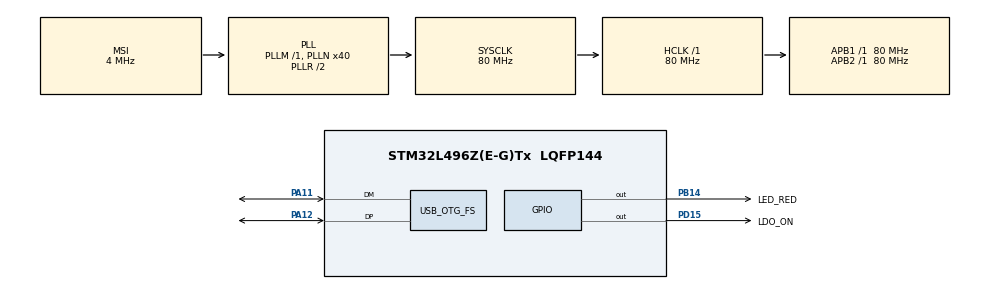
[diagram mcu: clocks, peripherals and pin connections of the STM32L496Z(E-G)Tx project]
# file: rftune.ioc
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Mcu.Family=STM32L4
Mcu.Name=STM32L496Z(E-G)Tx
Mcu.Package=LQFP144
NVIC.OTG_FS_IRQn=true\:0\:0\:false\:false\:true\:true\:true
NVIC.PriorityGroup=NVIC_PRIORITYGROUP_4
PA11.Mode=Device_Only
PA11.Signal=USB_OTG_FS_DM
PA12.Mode=Device_Only
PA12.Signal=USB_OTG_FS_DP
PB14.GPIO_Label=LED_RED
PB14.Signal=GPIO_Output
PD15.GPIO_Label=LDO_ON
PD15.PinState=GPIO_PIN_SET
PD15.Signal=GPIO_Output
PH0-OSC_IN\ (PH0).Mode=HSE-External-Oscillator
PH0-OSC_IN\ (PH0).Signal=RCC_OSC_IN
PH1-OSC_OUT\ (PH1).Mode=HSE-External-Oscillator
PH1-OSC_OUT\ (PH1).Signal=RCC_OSC_OUT
ProjectManager.HeapSize=0x200
ProjectManager.StackSize=0x400
ProjectManager.TargetToolchain=STM32CubeIDE
RCC.ADCFreq_Value=48000000
RCC.AHBFreq_Value=80000000
RCC.APB1Freq_Value=80000000
RCC.APB1TimFreq_Value=80000000
RCC.APB2Freq_Value=80000000
RCC.APB2TimFreq_Value=80000000
RCC.CortexFreq_Value=80000000
RCC.HCLKFreq_Value=80000000
RCC.HSE_VALUE=8000000
RCC.HSI48_VALUE=48000000
RCC.HSI_VALUE=16000000
RCC.MSI_VALUE=4000000
RCC.PLLN=40
RCC.PLLSAI1N=24
RCC.SYSCLKFreq_VALUE=80000000
RCC.SYSCLKSource=RCC_SYSCLKSOURCE_PLLCLK
RCC.USBFreq_Value=48000000
RCC.VCOOutputFreq_Value=160000000
TIM2.AutoReloadPreload=TIM_AUTORELOAD_PRELOAD_ENABLE
TIM2.Prescaler=80
USB_DEVICE.CLASS_NAME_FS=CDC
USB_DEVICE.VirtualMode=Cdc
USB_DEVICE.VirtualModeFS=Cdc_FS
USB_OTG_FS.VirtualMode=Device_Only
VP_TIM2_VS_ClockSourceINT.Mode=Internal
VP_USB_DEVICE_VS_USB_DEVICE_CDC_FS.Mode=CDC_FS
board=custom

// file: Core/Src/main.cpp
/* USER CODE BEGIN Header */
/**
  ******************************************************************************
  * @file           : main.c
  * @brief          : Main program body
  ******************************************************************************
  * @attention
  *
  * <h2><center>&copy; Copyright (c) 2020 STMicroelectronics.
  * All rights reserved.</center></h2>
  *
  * This software component is licensed by ST under BSD 3-Clause license,
  * the "License"; You may not use this file except in compliance with the
  * License. You may obtain a copy of the License at:
  *                        opensource.org/licenses/BSD-3-Clause
  *
  ******************************************************************************
  */
/* USER CODE END Header */
#include "main.h"
#include "usb_device.h"

/* USER CODE BEGIN Includes */
#include <stdlib.h>
#include "delay.h"
#include "usbd_cdc_if.h"
#include "rffc.h"

/* USER CODE END Includes */

TIM_HandleTypeDef htim2;

/* USER CODE BEGIN PV */

/************************************************************************************/
/*
 * Following function will be extern "C" void SystemClock_Config(void);
 */
/************************************************************************************/
/* USER CODE END PV */

extern "C" void SystemClock_Config(void);
static void MX_GPIO_Init(void);
static void MX_TIM2_Init(void);
/* USER CODE BEGIN PFP */
// Previous function will be extern "C" void SystemClock_Config(void);
static void MXEX_GPIO_INIT(void);
/* USER CODE END PFP */

/* USER CODE BEGIN 0 */

void usbPrint(const char *s)
{
	CDC_Transmit_FS((uint8_t *)s, strlen(s));
}

void usbPrint(uint8_t *s)
{
	CDC_Transmit_FS(s, strlen((char *)s));
}

/* USER CODE END 0 */

int main(void)
{
  /* USER CODE BEGIN 1 */
	//uint8_t cdc_buf[] = "Sample Text From CDC Buffer";
	char ch_buf1[100];
	int local_idx = 0;
  /* USER CODE END 1 */

  /* MCU Configuration--------------------------------------------------------*/

  /* Reset of all peripherals, Initializes the Flash interface and the Systick. */
  HAL_Init();

  /* Configure the system clock */
  SystemClock_Config();

  /* Initialize all configured peripherals */
  MX_GPIO_Init();
  MX_TIM2_Init();
  MX_USB_DEVICE_Init();
  /* USER CODE BEGIN 2 */

  MXEX_GPIO_INIT();
  HAL_TIM_Base_Start(&htim2);

  //RFFC(GPIO_TypeDef *port_sclk, uint16_t pin_sclk, GPIO_TypeDef *port_sdata, uint16_t pin_sdata, GPIO_TypeDef *port_resetx, uint16_t pin_resetx, GPIO_TypeDef *port_enx, uint16_t pin_enx);
  RFFC rffc(GPIOD, GPIO_PIN_1, GPIOD, GPIO_PIN_4, GPIOD, GPIO_PIN_2, GPIOD, GPIO_PIN_0);

  RFFC r2fc(GPIOB, GPIO_PIN_3, GPIOB, GPIO_PIN_5, GPIOG, GPIO_PIN_14, GPIOG, GPIO_PIN_15);
  //HAL_GPIO_WritePin(GPIOB, GPIO_PIN_7, GPIO_PIN_SET);

  uint16_t SDI_CTRL = 0;

  rffc.resetLow();
  usbPrint("Reseting RFFC. Wait 10 Second");
  HAL_Delay(10000);
  rffc.resetHigh();

  SDI_CTRL = rffc.read(0x15);
  sprintf(ch_buf1,"REG(15) : %03d\r\n", SDI_CTRL);
  for(local_idx=0;local_idx<16;local_idx++)
  {
	  SDI_CTRL = rffc.read(local_idx);
	  sprintf(ch_buf1,"REG(0X%04X) : 0X%04X\r\n", local_idx,  SDI_CTRL);
	  CDC_Transmit_FS((uint8_t *)ch_buf1, strlen(ch_buf1));
  }
  /* USER CODE END 2 */

  /* Infinite loop */
  /* USER CODE BEGIN WHILE */
  while (1)
  {
	  /*
	  HAL_GPIO_TogglePin(GPIOB, GPIO_PIN_7);
	  delay_us(10000, &htim2);
	  delay_us(10000, &htim2);
	  delay_us(10000, &htim2);
	  delay_us(10000, &htim2);
	  delay_us(10000, &htim2);
	  */
    /* USER CODE END WHILE */

    /* USER CODE BEGIN 3 */
	HAL_Delay(5000);
	for(local_idx=0;local_idx<16;local_idx++)
	{
	  SDI_CTRL = rffc.read(local_idx);
	  sprintf(ch_buf1,"REG(0X%04X) : 0X%04X\r\n", local_idx,  SDI_CTRL);
	  CDC_Transmit_FS((uint8_t *)ch_buf1, strlen(ch_buf1));
	}
	  //CDC_Transmit_FS(cdc_buf, sizeof(cdc_buf));
  }
  /* USER CODE END 3 */
}

void SystemClock_Config(void)
{
  RCC_OscInitTypeDef RCC_OscInitStruct = {0};
  RCC_ClkInitTypeDef RCC_ClkInitStruct = {0};
  RCC_PeriphCLKInitTypeDef PeriphClkInit = {0};

  /** Initializes the RCC Oscillators according to the specified parameters
  * in the RCC_OscInitTypeDef structure.
  */
  RCC_OscInitStruct.OscillatorType = RCC_OSCILLATORTYPE_LSE|RCC_OSCILLATORTYPE_MSI;
  RCC_OscInitStruct.LSEState = RCC_LSE_OFF;
  RCC_OscInitStruct.MSIState = RCC_MSI_ON;
  RCC_OscInitStruct.MSICalibrationValue = 0;
  RCC_OscInitStruct.MSIClockRange = RCC_MSIRANGE_6;
  RCC_OscInitStruct.PLL.PLLState = RCC_PLL_ON;
  RCC_OscInitStruct.PLL.PLLSource = RCC_PLLSOURCE_MSI;
  RCC_OscInitStruct.PLL.PLLM = 1;
  RCC_OscInitStruct.PLL.PLLN = 40;
  RCC_OscInitStruct.PLL.PLLP = RCC_PLLP_DIV2;
  RCC_OscInitStruct.PLL.PLLQ = RCC_PLLQ_DIV2;
  RCC_OscInitStruct.PLL.PLLR = RCC_PLLR_DIV2;
  if (HAL_RCC_OscConfig(&RCC_OscInitStruct) != HAL_OK)
  {
    Error_Handler();
  }
  /** Initializes the CPU, AHB and APB buses clocks
  */
  RCC_ClkInitStruct.ClockType = RCC_CLOCKTYPE_HCLK|RCC_CLOCKTYPE_SYSCLK
                              |RCC_CLOCKTYPE_PCLK1|RCC_CLOCKTYPE_PCLK2;
  RCC_ClkInitStruct.SYSCLKSource = RCC_SYSCLKSOURCE_PLLCLK;
  RCC_ClkInitStruct.AHBCLKDivider = RCC_SYSCLK_DIV1;
  RCC_ClkInitStruct.APB1CLKDivider = RCC_HCLK_DIV1;
  RCC_ClkInitStruct.APB2CLKDivider = RCC_HCLK_DIV1;

  if (HAL_RCC_ClockConfig(&RCC_ClkInitStruct, FLASH_LATENCY_4) != HAL_OK)
  {
    Error_Handler();
  }
  PeriphClkInit.PeriphClockSelection = RCC_PERIPHCLK_USB;
  PeriphClkInit.UsbClockSelection = RCC_USBCLKSOURCE_PLLSAI1;
  PeriphClkInit.PLLSAI1.PLLSAI1Source = RCC_PLLSOURCE_MSI;
  PeriphClkInit.PLLSAI1.PLLSAI1M = 1;
  PeriphClkInit.PLLSAI1.PLLSAI1N = 24;
  PeriphClkInit.PLLSAI1.PLLSAI1P = RCC_PLLP_DIV2;
  PeriphClkInit.PLLSAI1.PLLSAI1Q = RCC_PLLQ_DIV2;
  PeriphClkInit.PLLSAI1.PLLSAI1R = RCC_PLLR_DIV2;
  PeriphClkInit.PLLSAI1.PLLSAI1ClockOut = RCC_PLLSAI1_48M2CLK;
  if (HAL_RCCEx_PeriphCLKConfig(&PeriphClkInit) != HAL_OK)
  {
    Error_Handler();
  }
  /** Configure the main internal regulator output voltage
  */
  if (HAL_PWREx_ControlVoltageScaling(PWR_REGULATOR_VOLTAGE_SCALE1) != HAL_OK)
  {
    Error_Handler();
  }
  /** Enable MSI Auto calibration
  */
  HAL_RCCEx_EnableMSIPLLMode();
}

static void MX_TIM2_Init(void)
{

  TIM_ClockConfigTypeDef sClockSourceConfig = {0};
  TIM_MasterConfigTypeDef sMasterConfig = {0};

  htim2.Instance = TIM2;
  htim2.Init.Prescaler = 80;
  htim2.Init.CounterMode = TIM_COUNTERMODE_UP;
  htim2.Init.Period = 4294967295;
  htim2.Init.ClockDivision = TIM_CLOCKDIVISION_DIV1;
  htim2.Init.AutoReloadPreload = TIM_AUTORELOAD_PRELOAD_ENABLE;
  if (HAL_TIM_Base_Init(&htim2) != HAL_OK)
  {
    Error_Handler();
  }
  sClockSourceConfig.ClockSource = TIM_CLOCKSOURCE_INTERNAL;
  if (HAL_TIM_ConfigClockSource(&htim2, &sClockSourceConfig) != HAL_OK)
  {
    Error_Handler();
  }
  sMasterConfig.MasterOutputTrigger = TIM_TRGO_RESET;
  sMasterConfig.MasterSlaveMode = TIM_MASTERSLAVEMODE_DISABLE;
  if (HAL_TIMEx_MasterConfigSynchronization(&htim2, &sMasterConfig) != HAL_OK)
  {
    Error_Handler();
  }

}

static void MX_GPIO_Init(void)
{
  GPIO_InitTypeDef GPIO_InitStruct = {0};

  /* GPIO Ports Clock Enable */
  __HAL_RCC_GPIOH_CLK_ENABLE();
  __HAL_RCC_GPIOB_CLK_ENABLE();
  __HAL_RCC_GPIOD_CLK_ENABLE();
  __HAL_RCC_GPIOA_CLK_ENABLE();

  /*Configure GPIO pin Output Level */
  HAL_GPIO_WritePin(LED_RED_GPIO_Port, LED_RED_Pin, GPIO_PIN_RESET);

  /*Configure GPIO pin Output Level */
  HAL_GPIO_WritePin(LDO_ON_GPIO_Port, LDO_ON_Pin, GPIO_PIN_SET);

  /*Configure GPIO pin : LED_RED_Pin */
  GPIO_InitStruct.Pin = LED_RED_Pin;
  GPIO_InitStruct.Mode = GPIO_MODE_OUTPUT_PP;
  GPIO_InitStruct.Pull = GPIO_NOPULL;
  GPIO_InitStruct.Speed = GPIO_SPEED_FREQ_LOW;
  HAL_GPIO_Init(LED_RED_GPIO_Port, &GPIO_InitStruct);

  /*Configure GPIO pin : LDO_ON_Pin */
  GPIO_InitStruct.Pin = LDO_ON_Pin;
  GPIO_InitStruct.Mode = GPIO_MODE_OUTPUT_PP;
  GPIO_InitStruct.Pull = GPIO_NOPULL;
  GPIO_InitStruct.Speed = GPIO_SPEED_FREQ_LOW;
  HAL_GPIO_Init(LDO_ON_GPIO_Port, &GPIO_InitStruct);

}

/* USER CODE BEGIN 4 */

static void MXEX_GPIO_INIT(void)
{
	GPIO_InitTypeDef GPIO_InitStruct = {0};
	HAL_GPIO_WritePin(GPIOD, GPIO_PIN_0, GPIO_PIN_SET);   //ENX - NORMALLY HIGH. ACTIVE LOW.
	HAL_GPIO_WritePin(GPIOD, GPIO_PIN_1, GPIO_PIN_RESET); //SCLK
	HAL_GPIO_WritePin(GPIOD, GPIO_PIN_2, GPIO_PIN_RESET); //RESETX
	HAL_GPIO_WritePin(GPIOD, GPIO_PIN_4, GPIO_PIN_RESET); //SDATA

	GPIO_InitStruct.Pin = GPIO_PIN_0|GPIO_PIN_1|GPIO_PIN_2|GPIO_PIN_4;
	GPIO_InitStruct.Mode = GPIO_MODE_OUTPUT_PP;
	GPIO_InitStruct.Pull = GPIO_NOPULL;
	GPIO_InitStruct.Speed = GPIO_SPEED_FREQ_LOW;
	HAL_GPIO_Init(GPIOD, &GPIO_InitStruct);

	GPIO_InitStruct.Pin = GPIO_PIN_3 | GPIO_PIN_5;
	GPIO_InitStruct.Mode = GPIO_MODE_OUTPUT_PP;
	GPIO_InitStruct.Pull = GPIO_NOPULL;
	GPIO_InitStruct.Speed = GPIO_SPEED_FREQ_LOW;
	HAL_GPIO_Init(GPIOD, &GPIO_InitStruct);

	GPIO_InitStruct.Pin = GPIO_PIN_14 | GPIO_PIN_15;
	GPIO_InitStruct.Mode = GPIO_MODE_OUTPUT_PP;
	GPIO_InitStruct.Pull = GPIO_NOPULL;
	GPIO_InitStruct.Speed = GPIO_SPEED_FREQ_LOW;
	HAL_GPIO_Init(GPIOG, &GPIO_InitStruct);

}

/* USER CODE END 4 */

void Error_Handler(void)
{
  __disable_irq();
  while (1)
  {
  }
}

/************************ (C) COPYRIGHT STMicroelectronics *****END OF FILE****/
